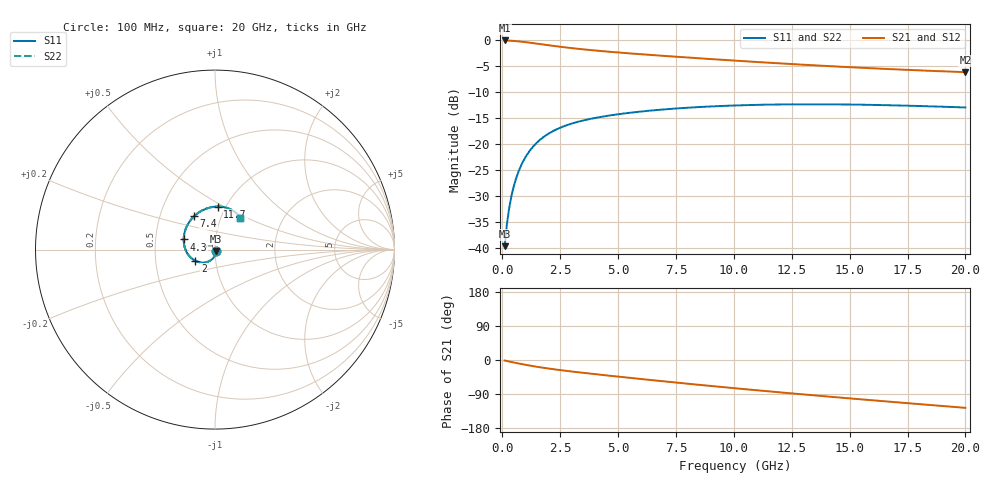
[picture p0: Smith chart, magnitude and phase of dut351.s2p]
! Touchstone file exported from HFSS 2024.1.0
!  File:  C:/UserFiles/LocalFiles/RDL_TSV_Batchsim/temp_RDL_TSV_351_1779637973.aedt
!  Generated:  12:04:54 AM May 25, 2026
!  Design:  RDL_TSV
!  Project:  temp_RDL_TSV_351_1779637973
!  Setup:  Setup1
!  Solution:  Sweep
! Variables:
!  dtsv = 13.29um
!  hbump = 3um
!  htsv = 85.29um
!  ldown = 285.34um
!  lrdl = 131.97um
!  p = 40
!  p1 = 44.02um
!  rhole = 10um
!  subl = 1383.9um
!  t = 450um
!  tdown = 4.15um
!  trdl = 2.74um
!  viad = 10um
!  wdown = 23.56um
!  wrdl = 22.43um
!  xbump = 18um
# GHz S MA R 50.000000
! Terminal data exported
! Port[1] = TM1_1_T1
! Port[2] = TM1_4_T1
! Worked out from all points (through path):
!   200 points, 100 MHz to 20 GHz, reference 50 ohm
!   highest |S21| = -0.07 dB at 100 MHz (marker M1); lowest = -6.2 dB at 20 GHz (marker M2)
!   group delay of S21, straight-line fit = 16.4 ps
!   lowest |S11| = -39.6 dB at 100 MHz (marker M3), VSWR 1.02, Z = 50.7 - j0.814 ohm
!   |S11| at or under -10 dB: start of sweep to end of sweep
!   |S22| runs from -39.6 to -12.3 dB; largest |S21 - S12| = 9.4e-15
!   S11 on the Smith chart (normalised r, x): 100 MHz: 1.01, -0.02; 2 GHz: 0.80, -0.10; 4.3 GHz: 0.70, +0.08; 7.4 GHz: 0.74, +0.29; 11.7 GHz: 0.92, +0.47; 20 GHz: 1.22, +0.46
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0.1  0.01046 -50.1  0.9923 -1.4  0.9923 -1.4  0.01046 -50.1
! Gamma 0 0 0 0
! Port Impedance 50 0 50 0
0.2  0.01708 -71.1  0.9907 -2.7  0.9907 -2.7  0.01708 -71.1
0.3  0.02448 -82.2  0.9884 -4.0  0.9884 -4.0  0.02448 -82.2
0.4  0.03209 -89.9  0.9855 -5.3  0.9855 -5.3  0.03209 -89.9
0.5  0.03968 -96.0  0.9819 -6.6  0.9819 -6.6  0.03968 -96.0
0.7  0.05444 -106.1  0.9732 -9.1  0.9732 -9.1  0.05444 -106.1
0.9  0.06835 -114.6  0.9626 -11.5  0.9626 -11.5  0.06835 -114.6
1.2  0.08728 -125.9  0.9444 -14.9  0.9444 -14.9  0.08728 -125.9
1.6  0.1088 -138.9  0.9183 -18.9  0.9183 -18.9  0.1088 -139.0
2  0.1264 -150.4  0.8926 -22.5  0.8926 -22.5  0.1264 -150.4
2.7  0.1498 -167.6  0.8525 -28.2  0.8525 -28.2  0.1498 -167.7
3.5  0.169 176.0  0.8148 -33.9  0.8148 -33.9  0.1691 175.9
4.3  0.1835 162.0  0.7839 -39.3  0.7839 -39.3  0.1836 162.0
5.4  0.199 145.7  0.7484 -46.5  0.7484 -46.5  0.1991 145.7
6.8  0.2141 128.3  0.7098 -55.2  0.7098 -55.2  0.2143 128.3
7.4  0.2193 121.8  0.6947 -58.9  0.6947 -58.9  0.2196 121.8
8.7  0.2286 109.2  0.6641 -66.7  0.6641 -66.7  0.2289 109.2
10.1  0.2356 97.6  0.634 -74.9  0.634 -74.9  0.236 97.5
11.7  0.2403 86.3  0.6028 -83.8  0.6028 -83.8  0.2406 86.3
13.4  0.2417 76.3  0.5734 -93.0  0.5734 -93.0  0.2421 76.3
16.7  0.2367 61.7  0.5268 -109.9  0.5268 -109.9  0.2371 61.7
20  0.2253 52.3  0.4922 -126.2  0.4922 -126.2  0.2257 52.4
